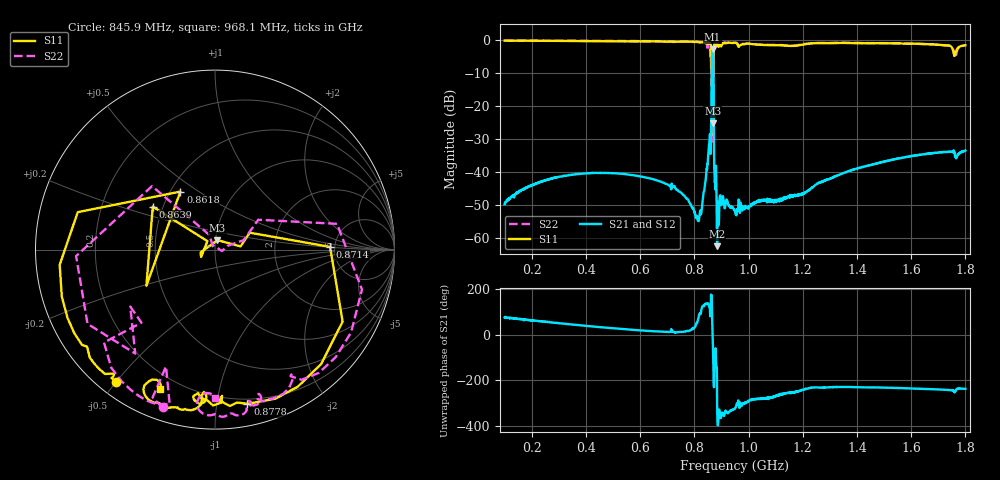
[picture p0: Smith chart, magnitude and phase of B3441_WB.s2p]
! Matrix data file written by TouchstoneData, EPCOS AG
! FILENAME: "B3441_WB.s2p"
! COMMENT: "Measurement on PCB, wideband"
! INFO: nport=2, nfreq=1601
! DATE: "Thu Jul 17 11:22:57 2014"
! USER: "Daniel Harbusch"
! port | pin | signal
!  1  |  2  |  Input
!  2  |  5  |  Output
# MHZ S MA R 50
! freq  magS11 angS11  magS21 angS21  magS12 angS12  magS22 angS22
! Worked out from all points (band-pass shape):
!   1601 points, 100 MHz to 1.8 GHz, reference 50 ohm
!   highest |S21| = -2.70 dB at 867.1 MHz (marker M1); lowest = -62.6 dB at 884.1 MHz (marker M2)
!   |S21| within 3 dB of the highest: 864.8 MHz to 870 MHz (5.246 MHz wide, 0.605 % of centre)
!   lowest |S11| = -25.3 dB at 868.2 MHz (marker M3), VSWR 1.12, Z = 51.1 + j5.41 ohm
!   |S11| at or under -10 dB: 864.1 MHz to 870.7 MHz (6.588 MHz wide, 0.76 % of centre)
!   |S22| runs from -30.8 to 0.0 dB; largest |S21 - S12| = 0.0022
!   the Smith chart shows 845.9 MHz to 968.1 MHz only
!   S11 on the Smith chart (normalised r, x): 845.9 MHz: 0.05, -0.50; 861.8 MHz: 0.56, +0.42; 863.9 MHz: 0.44, +0.26; 871.4 MHz: 4.56, +0.24; 877.8 MHz: 0.16, -1.22; 968.1 MHz: 0.13, -0.67
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100  0.9895 -16.2  0.003205 76.2  0.003194 76.3  0.9949 -11.7
383.6875  0.9742 -58.0  0.009354 40.9  0.009323 40.9  0.9841 -42.9
667.375  0.9617 -92.6  0.007265 14.0  0.007257 14.0  0.9704 -72.7
755.5625  0.9576 -102.7  0.004631 12.2  0.004614 12.2  0.9641 -82.4
810.8125  0.9428 -112.3  0.001982 52.8  0.001981 52.8  0.9535 -91.6
823.5625  0.9361 -115.2  0.002262 92.0  0.002263 92.2  0.936 -94.6
845.875  0.9191 -126.9  0.01142 134.6  0.01139 134.8  0.9232 -108.4
854.375  0.8947 -142.8  0.02634 124.4  0.02625 124.5  0.9115 -121.0
861.8125  0.3765 120.8  0.05074 176.4  0.05056 176.4  0.8219 -149.8
863.9375  0.4215 145.4  0.2807 172.9  0.2801 173.0  0.4984 134.7
867.125  0.08187 -168.8  0.7331 9.3  0.7311 9.3  0.03985 -11.3
868.1875  0.05453 75.5  0.7117 -34.8  0.7097 -34.8  0.07088 16.4
871.375  0.6411 1.4  0.168 149.3  0.1675 149.3  0.6951 11.9
877.75  0.8782 -78.2  0.00538 -74.6  0.005354 -74.6  0.8209 -59.2
884.125  0.8685 -90.7  0.0007411 47.7  0.0007429 48.3  0.8896 -68.8
950  0.9169 -112.7  0.002455 35.0  0.002457 35.1  0.9224 -91.2
968.0625  0.8336 -111.7  0.002373 48.6  0.002384 48.2  0.8273 -90.2
1233.688  0.9004 -126.0  0.005702 127.6  0.005688 127.5  0.9064 -104.3
1517.375  0.9033 -144.2  0.01496 126.7  0.01491 126.7  0.9053 -124.4
1756.438  0.6487 -164.8  0.02127 113.6  0.02117 113.6  0.687 -150.0
1768.125  0.7182 -146.0  0.0173 120.9  0.01723 121.0  0.6701 -123.1
1800  0.8412 -151.1  0.02105 122.1  0.02095 122.1  0.8408 -132.3
